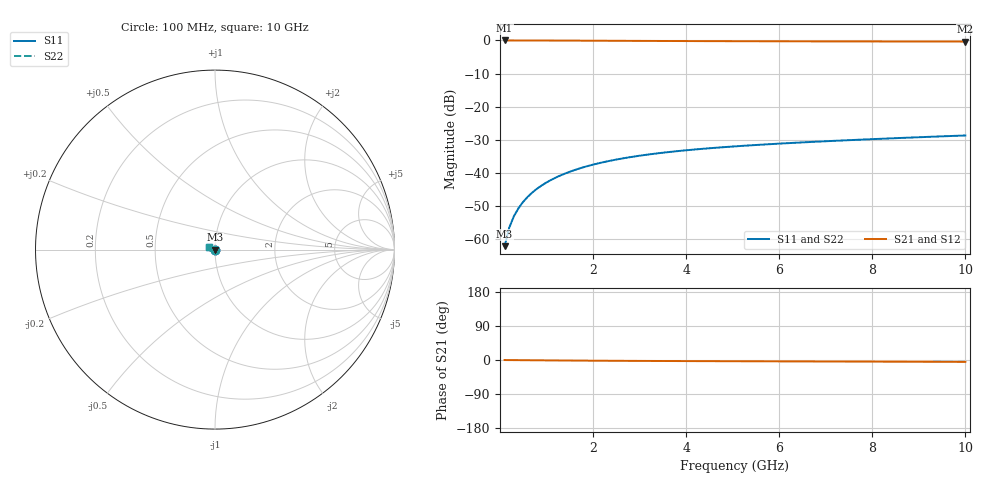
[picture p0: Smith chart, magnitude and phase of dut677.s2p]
! Touchstone file exported from HFSS 2024.1.0
!  File:  C:/UserFiles/LocalFiles/RDL_TSV_Batchsim/temp_TSV1_677_1779794666.aedt
!  Generated:  07:29:00 PM May 26, 2026
!  Design:  TSV1
!  Project:  temp_TSV1_677_1779794666
!  Setup:  Setup1
!  Solution:  Sweep
! Variables:
!  dtsv = 6.79um
!  hbump = 3um
!  htsv = 74.92um
!  lrdl = 252.1521522um
!  p = 40
!  p1 = 47.74um
!  t = 500um
!  trdl = 3um
!  wrdl = 24.89489489um
# GHz S MA R 50.000000
! Terminal data exported
! Port[1] = TSV22_T1
! Port[2] = TSV22_T2
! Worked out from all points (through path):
!   100 points, 100 MHz to 10 GHz, reference 50 ohm
!   highest |S21| = 0.00 dB at 100 MHz (marker M1); lowest = -0.3 dB at 10 GHz (marker M2)
!   lowest |S11| = -62.1 dB at 100 MHz (marker M3), VSWR 1.00, Z = 50 - j0.0736 ohm
!   |S11| at or under -10 dB: start of sweep to end of sweep
!   |S22| runs from -62.1 to -28.7 dB; largest |S21 - S12| = 5.4e-15
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0.1  0.0007843 -69.6  0.9997 -0.1  0.9997 -0.1  0.0007843 -69.6
! Gamma 0 0 0 0
! Port Impedance 50 0 50 0
0.2  0.001498 -82.4  0.9996 -0.2  0.9996 -0.2  0.001498 -82.4
0.3  0.002224 -88.2  0.9994 -0.3  0.9994 -0.3  0.002224 -88.2
0.4  0.002949 -92.1  0.9993 -0.4  0.9993 -0.4  0.002949 -92.1
0.5  0.003672 -95.2  0.999 -0.5  0.999 -0.5  0.003672 -95.2
0.6  0.004389 -98.0  0.9987 -0.6  0.9987 -0.6  0.004389 -98.0
0.7  0.0051 -100.5  0.9984 -0.7  0.9984 -0.7  0.0051 -100.5
0.8  0.005802 -102.8  0.9981 -0.8  0.9981 -0.8  0.005802 -102.8
0.9  0.006495 -105.1  0.9976 -0.9  0.9976 -0.9  0.006495 -105.1
1.1  0.007852 -109.4  0.9967 -1.1  0.9967 -1.1  0.007852 -109.4
1.4  0.0098 -115.4  0.9951 -1.3  0.9951 -1.3  0.0098 -115.4
1.6  0.01103 -119.1  0.9939 -1.5  0.9939 -1.5  0.01103 -119.1
1.8  0.01222 -122.8  0.9927 -1.6  0.9927 -1.6  0.01222 -122.8
2.1  0.01389 -128.0  0.9907 -1.9  0.9907 -1.9  0.01389 -128.0
2.5  0.01593 -134.6  0.988 -2.1  0.988 -2.1  0.01593 -134.6
2.9  0.01776 -140.6  0.9854 -2.3  0.9854 -2.3  0.01776 -140.6
3.4  0.01981 -147.6  0.9823 -2.6  0.9823 -2.6  0.01981 -147.6
4.2  0.02263 -157.6  0.9779 -2.9  0.9779 -2.9  0.02264 -157.6
5.1  0.02532 -167.2  0.9738 -3.3  0.9738 -3.3  0.02532 -167.2
6.7  0.02939 178.6  0.9685 -3.9  0.9685 -3.9  0.02939 178.6
8.4  0.03326 166.7  0.9648 -4.4  0.9648 -4.4  0.03326 166.7
10  0.03678 157.5  0.9623 -5.0  0.9623 -5.0  0.03678 157.5
